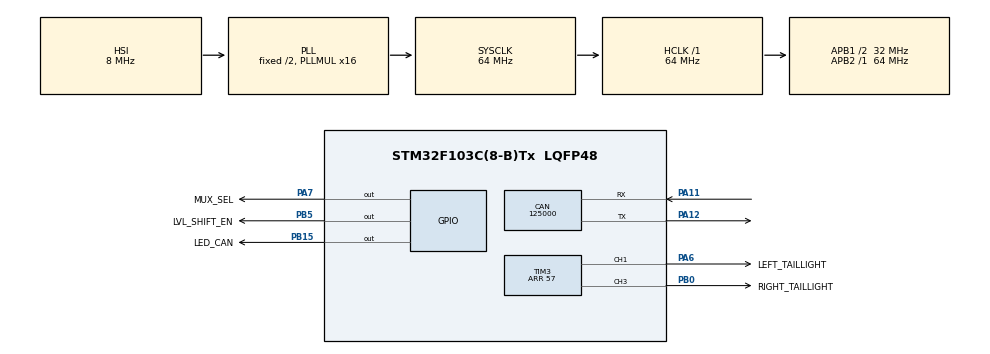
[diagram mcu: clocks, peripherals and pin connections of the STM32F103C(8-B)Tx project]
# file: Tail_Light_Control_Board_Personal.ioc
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CAN.BS1=CAN_BS1_13TQ
CAN.BS2=CAN_BS2_2TQ
CAN.CalculateBaudRate=125000
CAN.CalculateTimeBit=8000
CAN.CalculateTimeQuantum=500.0
Dma.Request0=TIM3_CH1/TRIG
Dma.Request1=TIM3_CH3
Dma.TIM3_CH1/TRIG.0.Direction=DMA_MEMORY_TO_PERIPH
Dma.TIM3_CH1/TRIG.0.Instance=DMA1_Channel6
Dma.TIM3_CH1/TRIG.0.MemDataAlignment=DMA_MDATAALIGN_WORD
Dma.TIM3_CH1/TRIG.0.MemInc=DMA_MINC_ENABLE
Dma.TIM3_CH1/TRIG.0.Mode=DMA_NORMAL
Dma.TIM3_CH1/TRIG.0.PeriphDataAlignment=DMA_PDATAALIGN_WORD
Dma.TIM3_CH1/TRIG.0.PeriphInc=DMA_PINC_DISABLE
Dma.TIM3_CH1/TRIG.0.Priority=DMA_PRIORITY_VERY_HIGH
Dma.TIM3_CH3.1.Direction=DMA_MEMORY_TO_PERIPH
Dma.TIM3_CH3.1.Instance=DMA1_Channel2
Dma.TIM3_CH3.1.MemDataAlignment=DMA_MDATAALIGN_WORD
Dma.TIM3_CH3.1.MemInc=DMA_MINC_ENABLE
Dma.TIM3_CH3.1.Mode=DMA_NORMAL
Dma.TIM3_CH3.1.PeriphDataAlignment=DMA_PDATAALIGN_WORD
Dma.TIM3_CH3.1.PeriphInc=DMA_PINC_DISABLE
Dma.TIM3_CH3.1.Priority=DMA_PRIORITY_VERY_HIGH
Mcu.Family=STM32F1
Mcu.Name=STM32F103C(8-B)Tx
Mcu.Package=LQFP48
NVIC.DMA1_Channel2_IRQn=true\:0\:0\:false\:false\:true\:false\:true\:true
NVIC.DMA1_Channel6_IRQn=true\:0\:0\:false\:false\:true\:false\:true\:true
NVIC.PriorityGroup=NVIC_PRIORITYGROUP_4
NVIC.USB_LP_CAN1_RX0_IRQn=true\:0\:0\:false\:false\:true\:true\:true\:true
PA11.Mode=CAN_Activate
PA11.Signal=CAN_RX
PA12.Mode=CAN_Activate
PA12.Signal=CAN_TX
PA13.Mode=Serial_Wire
PA13.Signal=SYS_JTMS-SWDIO
PA14.Mode=Serial_Wire
PA14.Signal=SYS_JTCK-SWCLK
PA6.GPIO_Label=LEFT_TAILLIGHT
PA6.Signal=S_TIM3_CH1
PA7.GPIO_Label=MUX_SEL
PA7.Signal=GPIO_Output
PB0.GPIO_Label=RIGHT_TAILLIGHT
PB0.Signal=S_TIM3_CH3
PB15.GPIO_Label=LED_CAN
PB15.Signal=GPIO_Output
PB5.GPIO_Label=LVL_SHIFT_EN
PB5.Signal=GPIO_Output
ProjectManager.HeapSize=0x200
ProjectManager.StackSize=0x400
ProjectManager.TargetToolchain=STM32CubeIDE
RCC.AHBFreq_Value=64000000
RCC.APB1CLKDivider=RCC_HCLK_DIV2
RCC.APB1Freq_Value=32000000
RCC.APB1TimFreq_Value=64000000
RCC.APB2Freq_Value=64000000
RCC.APB2TimFreq_Value=64000000
RCC.HCLKFreq_Value=64000000
RCC.PLLMUL=RCC_PLL_MUL16
RCC.SYSCLKFreq_VALUE=64000000
RCC.SYSCLKSource=RCC_SYSCLKSOURCE_PLLCLK
RCC.USBFreq_Value=64000000
SH.S_TIM3_CH1.0=TIM3_CH1,PWM Generation1 CH1
SH.S_TIM3_CH3.0=TIM3_CH3,PWM Generation3 CH3
TIM3.AutoReloadPreload=TIM_AUTORELOAD_PRELOAD_ENABLE
TIM3.Channel-PWM\ Generation1\ CH1=TIM_CHANNEL_1
TIM3.Channel-PWM\ Generation3\ CH3=TIM_CHANNEL_3
TIM3.Period=57
board=custom

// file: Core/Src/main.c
/* USER CODE BEGIN Header */
/**
  ******************************************************************************
  * @file           : main.c
  * @brief          : Main program body
  ******************************************************************************
  * @attention
  *
  * Copyright (c) 2025 STMicroelectronics.
  * All rights reserved.
  *
  * This software is licensed under terms that can be found in the LICENSE file
  * in the root directory of this software component.
  * If no LICENSE file comes with this software, it is provided AS-IS.
  *
  ******************************************************************************
  */
/* USER CODE END Header */
#include "main.h"

/* USER CODE BEGIN Includes */
#include <limits.h>
/* USER CODE END Includes */

/* USER CODE BEGIN PTD */
// WS2812B (LED) Expects GRB
typedef union{
	struct{
		uint8_t b;
		uint8_t r;
		uint8_t g;
	}color;
	uint32_t data; // BRG and "data" share the same memory space. This allows us to access the pixel data with ease
}PixelRGB_t;

/* USER CODE END PTD */

/* USER CODE BEGIN PD */
//#define TESTING

// Note that the layout is different between the left and the right tail lights
//#define LEFT_NUMPIXEL 107 // Number of Pixel for the in Total for Left Tail Light
#define LEFT_NUMPIXEL 52
#define LEFT_CUTOFF 22    // Number of Pixel for the Brake/Default Signal (0-76 Red)
// The Rest are Used for Turn/Hazard (Yelllow) 76-107 (exclude 107)

//#define RIGHT_NUMPIXEL 120 // Number of Pixel for the Upper Portion for the Right Tail Light (Turn/Hazard Signal)
#define RIGHT_NUMPIXEL 52
#define RIGHT_CUTOFF 22 // Number of Pixel for the Brake/Default Signal (40-120, 120 exclusvie RED)
// 0-40, 40 exclusive are the pixels for the Turn/Hazard (Yellow) Signals
#define RIGHT_DMABUF_LEN (RIGHT_NUMPIXEL * 24) + 100 // 100 Bits Corresponds to 100*0.96us of Lows
#define LEFT_DMABUF_LEN (LEFT_NUMPIXEL*24) + 100

#define DASHLIGHT_ID 5
#define BRAKEBOARD_ID 2

#define NEOPIXEL_ZERO 19 // CCR Needed to Create "LOW" Duty Cycle
//#define NEOPIXEL_ONE 38 // CCR Needed to Create "High" Duty Cycle
#define NEOPIXEL_ONE 38
const uint8_t BRAKE_LIGHT[] = {255,0,0}; // Bright Red
const uint8_t TAIL_LIGHT[] = {10,0,0}; // Dim Red
const uint8_t TURNSIG_COLOR[] = {255,20,0};
const uint8_t OFF_COLOR[] = {0,0,0};
/* USER CODE END PD */

CAN_HandleTypeDef hcan;

TIM_HandleTypeDef htim3;
DMA_HandleTypeDef hdma_tim3_ch1_trig;
DMA_HandleTypeDef hdma_tim3_ch3;

/* USER CODE BEGIN PV */
CAN_RxHeaderTypeDef RxHeader;
uint8_t RxData[8];

/* USER CODE END PV */

void SystemClock_Config(void);
static void MX_GPIO_Init(void);
static void MX_DMA_Init(void);
static void MX_CAN_Init(void);
static void MX_TIM3_Init(void);
/* USER CODE BEGIN PFP */
void updateLight();
void updateDash(uint8_t blinkData_local); // Ensures when we return to function, we finish updating using the old value
void updateBrake(uint8_t brakeData_local);
void SetPixelColor(PixelRGB_t* p,const uint8_t color[]);

/* USER CODE END PFP */

/* USER CODE BEGIN 0 */
uint8_t datasentFlag; // datasentFlag = 2 means both DMA are available, 0 means none are available
uint8_t updateDashFlag;
uint8_t updatePedalFlag;
PixelRGB_t Left_PixelData[LEFT_NUMPIXEL] = {0};
PixelRGB_t Right_PixelData[RIGHT_NUMPIXEL] = {0};
// DMA Transfers Requires Pointer. We will create that locally later
uint32_t left_dma_Buffer[LEFT_DMABUF_LEN] = {0}; // Match DMA Start, if we used uint8_t then we need
uint32_t right_dma_Buffer[RIGHT_DMABUF_LEN] = {0}; // uint32_t*, and modifying this might corrupt the DMA data
											// contiguous to that addres
uint8_t blinkData;
uint8_t brakeData;
uint32_t * pBuff_Left;
uint32_t * pBuff_Right;
uint8_t LEFT_BLINK;
uint8_t LEFT_BLINK_FLAG;
uint8_t RIGHT_BLINK;
uint8_t RIGHT_BLINK_FLAG;

int counter;
void SetPixelColor(PixelRGB_t* p, const uint8_t color[]){
	(*p).color.r = color [0];
	(*p).color.g = color [1];
	(*p).color.b = color [2];
}
void HAL_CAN_RxFifo0MsgPendingCallback(CAN_HandleTypeDef *hcan){
	// Extract the LED status update bits
	HAL_CAN_GetRxMessage(hcan, CAN_RX_FIFO0, &RxHeader, RxData);
	if(datasentFlag & 0b00000011){
		if(RxHeader.StdId == DASHLIGHT_ID){
			// Dashboard only controls the blinking of the lights
			// Hazard or Left or Right
			blinkData = RxData[0];
			updateDashFlag = 1;
		}
		else if(RxHeader.StdId == BRAKEBOARD_ID){
			// Brakeboard only controls the Red portion of the lights
			// Bright Red / Dim Red
			brakeData = RxData[0];
			updatePedalFlag = 1;
		}
	}
}

void HAL_TIM_PWM_PulseFinishedCallback(TIM_HandleTypeDef *htim){
	uint32_t left_remaining;
	uint32_t right_remaining;

  if( htim == &htim3){
	  // Note that TIM_Channel 3 corresponds to hdma[3], it's not zero-indexed (DMA)
	  // TIM channel are zero-indexed as stated in TIM_DMADelayPulseCplt 	   (TIM Status)
	  if(htim->hdma[1]->State ==  HAL_DMA_STATE_READY || htim->ChannelState[0] == HAL_TIM_CHANNEL_STATE_READY){
		  HAL_TIM_PWM_Stop_DMA(htim, TIM_CHANNEL_1);
		  datasentFlag |= 0b00000001;
	  }
	  if(htim->hdma[3]->State == HAL_DMA_STATE_READY || htim->ChannelState[2] == HAL_TIM_CHANNEL_STATE_READY){

		  HAL_TIM_PWM_Stop_DMA(htim, TIM_CHANNEL_3);
		  datasentFlag |= 0b00000010;

	  }
#ifdef TESTING
#endif
		  left_remaining = htim->hdma[1]->Instance->CNDTR;
		  right_remaining = htim->hdma[3]->Instance->CNDTR;
//
//	  if(datasentFlag == 0b0011){
//		  HAL_TIM_PWM_Stop_DMA(htim, TIM_CHANNEL_3);
//		  HAL_TIM_PWM_Stop_DMA(htim, TIM_CHANNEL_1);
//
//	  }

//	  if (htim == &htim3)
//	     {
//	         HAL_TIM_PWM_Stop_DMA(htim, TIM_CHANNEL_1);
//	         HAL_TIM_PWM_Stop_DMA(htim, TIM_CHANNEL_3);
//	         datasentFlag = 2;
//	     }
  }
}
void updateBrake(uint8_t brakeData_local){
	datasentFlag = 0;
	if(brakeData_local & 0b1)
	{
		for(int i = 0; i < LEFT_CUTOFF; i++){
			SetPixelColor(&Left_PixelData[i], BRAKE_LIGHT);
			SetPixelColor(&Right_PixelData[i], BRAKE_LIGHT);
		}
//		for(int j = 0 ; j < RIGHT_CUTOFF; j++){
//		}
	}
	else{ // if 0 then default dim red
		for(int k = 0; k < LEFT_CUTOFF; k++){
			SetPixelColor(&Left_PixelData[k], TAIL_LIGHT);
			SetPixelColor(&Right_PixelData[k], TAIL_LIGHT);
		 }
//		for(int l = 0; l < RIGHT_CUTOFF; l++){
//		 }

	}
	updateLight();
}
// Assumption Both Buffers are Filled
// Send there out via DMA

void LightsInit(){
	datasentFlag = 0;
	for(int k = 0; k < LEFT_CUTOFF; k++){
		SetPixelColor(&Left_PixelData[k], TAIL_LIGHT);
		SetPixelColor(&Right_PixelData[k], TAIL_LIGHT);
	 }
	for(int i = LEFT_CUTOFF; i <LEFT_NUMPIXEL; i++){
		SetPixelColor(&Left_PixelData[i], OFF_COLOR);
		SetPixelColor(&Right_PixelData[i], OFF_COLOR);
	}
	updateLight();
}

void updateLight(){
	datasentFlag = 0;
	pBuff_Left = left_dma_Buffer;
	pBuff_Right = right_dma_Buffer;
	for(int i = 0; i< LEFT_NUMPIXEL; i++){
		for(int j = 23; j >= 0; j--){
			if((Left_PixelData[i].data>>j) & 0x01){
				*pBuff_Left = NEOPIXEL_ONE;
			}
			else{
				*pBuff_Left = NEOPIXEL_ZERO;
			}
			pBuff_Left++;
		}

	}
	for(int k = 0; k< RIGHT_NUMPIXEL; k++){
		for(int l = 23; l >= 0; l--){
			if((Right_PixelData[k].data>>l) & 0x01){
				*pBuff_Right = NEOPIXEL_ONE;
			}
			else{
				*pBuff_Right = NEOPIXEL_ZERO;
			}
			pBuff_Right++;
		}
	}
	for(int z = 1; z <= 100; z++){
		left_dma_Buffer[LEFT_DMABUF_LEN - z] = 0;
		right_dma_Buffer[RIGHT_DMABUF_LEN - z ] = 0; // Extra time for latch (50us?)
	}
	uint32_t PRIMASK_STATE =  __get_PRIMASK();// Store the Current State of the Interrupts in (PRIMASK)
//	// Note: CPSID i sets PRIMASK to 1 (disable) and CPSIE i clears PRIMASK to 0 (enables)
	__disable_irq(); // This is an Critical Section because we want to Ensure both DMA Start without interrupts in between
	HAL_TIM_PWM_Start_DMA(&htim3, TIM_CHANNEL_3, (uint32_t*)right_dma_Buffer, RIGHT_DMABUF_LEN);
	HAL_TIM_PWM_Start_DMA(&htim3, TIM_CHANNEL_1, (uint32_t*)left_dma_Buffer, LEFT_DMABUF_LEN);
	__set_PRIMASK(PRIMASK_STATE);
	__enable_irq();
}
// blinkData is Headlight, Hazard, Left, Right
void updateDash(uint8_t blinkData_local){
	// TODO Logic to Mask the Blinkdata and Modify Left and Right Pixel Data as Necessary
	datasentFlag = 0; // Prevent BlinkData from being overwrite while executing
	blinkData_local &= 0b00000111; // Logic breaks if headlight is on and we proceed to press any of left/right/hazard (it hits else)
	if ((~blinkData_local & 0b0010) && (blinkData_local&0b0001)){ // If Left is off and Right Is on, ensure left blink is off
		for(int i = LEFT_CUTOFF; i < LEFT_NUMPIXEL; i++){
			SetPixelColor(&Left_PixelData[i], OFF_COLOR);
		}
		LEFT_BLINK = 0;
		LEFT_BLINK_FLAG = 0;
		RIGHT_BLINK = 1;
		RIGHT_BLINK_FLAG = 1;
		counter =  0;

	}
	else if((~blinkData_local & 0b0001) && (blinkData_local & 0b0010)){ // If Right is off and Left is On, ensure right blink is off
//		for(int i = 0; i < RIGHT_NUMPIXEL-RIGHT_CUTOFF; i++){
//		  SetPixelColor(&Right_PixelData[i], OFF_COLOR);
//	    }
		for(int i = RIGHT_CUTOFF; i < RIGHT_NUMPIXEL; i++){
			SetPixelColor(&Right_PixelData[i], OFF_COLOR);
		}
		RIGHT_BLINK = 0;
		RIGHT_BLINK_FLAG = 0;
		LEFT_BLINK = 1;
		LEFT_BLINK_FLAG = 1;
		counter = 0;
	}
	else if(blinkData_local & 0b0100){ // Hazard Case

		LEFT_BLINK = 1;
		LEFT_BLINK_FLAG = 1;
		RIGHT_BLINK = 1;
		RIGHT_BLINK_FLAG = 1;
		counter = 0;

	}
	else if(blinkData_local & 0b1000){ // don't care about headlights
		// Edge Case: Pressing Headlight before left/right/hazard zeros the datasentFlag, and if one of more of previous DMA transfer finished
		// It won't ever become 0b0011, which blocks CAN (bad).
		// Here we check that if the previous transfers are finished, we set both available, else let it be 0
		if(htim3.hdma[1]->State ==  HAL_DMA_STATE_READY && htim3.hdma[3]->State ==  HAL_DMA_STATE_READY){
			datasentFlag = 0b0011;
		}
		return;
	}
	else{ // Toggled all Off
//		 No Blinking
//		for(int i = 0; i < (RIGHT_NUMPIXEL - RIGHT_CUTOFF); i++){
//			SetPixelColor(&Right_PixelData[i], OFF_COLOR);
//		}
		for(int i = RIGHT_CUTOFF; i < RIGHT_NUMPIXEL; i++){
				SetPixelColor(&Right_PixelData[i], OFF_COLOR);
			}
		for(int j = LEFT_CUTOFF; j < LEFT_NUMPIXEL; j++){
			SetPixelColor(&Left_PixelData[j], OFF_COLOR);
		}
		LEFT_BLINK = 0;
		LEFT_BLINK_FLAG = 1; // Reset it to default
		RIGHT_BLINK = 0;
		RIGHT_BLINK_FLAG = 1; // Reset it to default
		counter =  INT_MAX - 800;

	}

	updateLight();
}

/* USER CODE END 0 */

int main(void)
{

  /* MCU Configuration--------------------------------------------------------*/

  /* Reset of all peripherals, Initializes the Flash interface and the Systick. */
  HAL_Init();

  /* Configure the system clock */
  SystemClock_Config();

  /* Initialize all configured peripherals */
  MX_GPIO_Init();
  MX_DMA_Init();
  MX_CAN_Init();
  MX_TIM3_Init();
  /* USER CODE BEGIN 2 */
  // Prepares the CAN hardware with the existing configuration and start allowing
  // CAN message Transmitting and Receiving
//  HAL_GPIO_WritePin(LVL_SHIFT_EN_GPIO_Port, LVL_SHIFT_EN_Pin, GPIO_PIN_RESET);

  HAL_GPIO_WritePin(LVL_SHIFT_EN_GPIO_Port, LVL_SHIFT_EN_Pin, GPIO_PIN_SET);
  HAL_GPIO_WritePin(MUX_SEL_GPIO_Port, MUX_SEL_Pin, GPIO_PIN_RESET); // 0 Select LED_A_5V to LED_A_OUTPUT rather than LED_B_5V
  datasentFlag = 0b00000011;
  updateDashFlag = 0;
  updatePedalFlag = 0 ;

  LEFT_BLINK = 0;
  LEFT_BLINK_FLAG = 1;
  RIGHT_BLINK = 0;
  RIGHT_BLINK_FLAG = 1;

  //HAL_Delay(100);
  brakeData = 0b0;
  blinkData = 0b0000;
//  HAL_Delay(500);
//  updateDash(); // OFF
//  HAL_Delay(500);
//  updateBrake(); // Dim RED
  LightsInit();

  HAL_CAN_Start(&hcan);
  // Triggers Interrupt whenever FIFO0 receive a new message
  HAL_CAN_ActivateNotification(&hcan, CAN_IT_RX_FIFO0_MSG_PENDING);
  /* USER CODE END 2 */

  /* Infinite loop */
  /* USER CODE BEGIN WHILE */
#ifdef TESTING
  blinkData = 0b0100; // hazard
//  blinkData = 0b0010; // left only
//  blinkData = 0b0001; // right only
//  	blinkData = 0b1000;
//  brakeData = 0b1;
//  brakeData = 0b0;
  updateDash(); // hazard
  updateBrake();

#endif
  while (1)
  {
    /* USER CODE END WHILE */

    /* USER CODE BEGIN 3 */
//	  updateBrake();

	  HAL_GPIO_WritePin(LVL_SHIFT_EN_GPIO_Port, LVL_SHIFT_EN_Pin, GPIO_PIN_SET);
	  HAL_GPIO_WritePin(MUX_SEL_GPIO_Port, MUX_SEL_Pin, GPIO_PIN_RESET); // 0 Select LED_A_5V to LED_A_OUTPUT rather than LED_B_5V
	  if(counter + 800 <= HAL_GetTick()){
		  if(LEFT_BLINK){
			  if(LEFT_BLINK_FLAG){
				  for(int i = LEFT_CUTOFF; i < LEFT_NUMPIXEL; i++){
					  SetPixelColor(&Left_PixelData[i], TURNSIG_COLOR);
				  }
				  LEFT_BLINK_FLAG = 0;
			  }
			  else if(LEFT_BLINK_FLAG == 0){
				  for(int i = LEFT_CUTOFF; i < LEFT_NUMPIXEL; i++){
					  SetPixelColor(&Left_PixelData[i], OFF_COLOR);
				  }
				  LEFT_BLINK_FLAG = 1;
			  }
		  }
		  if(RIGHT_BLINK){
			  if(RIGHT_BLINK_FLAG){
//				  for(int i = 0; i < RIGHT_NUMPIXEL-RIGHT_CUTOFF; i++){
//					  SetPixelColor(&Right_PixelData[i], TURNSIG_COLOR);
//				  }
				  for(int i = RIGHT_CUTOFF; i < RIGHT_NUMPIXEL; i++){
					  SetPixelColor(&Right_PixelData[i], TURNSIG_COLOR);
				  }
				  RIGHT_BLINK_FLAG = 0 ;
			  }
			  else if(RIGHT_BLINK_FLAG == 0){
//				  for(int i = 0; i < RIGHT_NUMPIXEL-RIGHT_CUTOFF; i++){
//					  SetPixelColor(&Right_PixelData[i], OFF_COLOR);
//				  }
				  for(int i = RIGHT_CUTOFF; i < RIGHT_NUMPIXEL; i++){
					  SetPixelColor(&Right_PixelData[i], OFF_COLOR);
				  }
				  RIGHT_BLINK_FLAG = 1;
			  }
		  }
		  counter = HAL_GetTick();
		  updateLight();
	  }
	  // Interrupt won't be faster than CPU execution since processing speed is way faster
	  if(updateDashFlag && datasentFlag == 0b0011){

		  updateDash(blinkData);

		  updateDashFlag = 0 ; // 0 means the latest dash data has been processed

	  }
	  if(updatePedalFlag && datasentFlag == 0b0011){
		  updateBrake(brakeData);
		  updatePedalFlag = 0; // 0 means the latest pedal data has been processed
	  }
#ifdef TESTING
//	  blinkData = 0b1000;
//	  updateDash();
#endif
  }
  /* USER CODE END 3 */
}

void SystemClock_Config(void)
{
  RCC_OscInitTypeDef RCC_OscInitStruct = {0};
  RCC_ClkInitTypeDef RCC_ClkInitStruct = {0};

  /** Initializes the RCC Oscillators according to the specified parameters
  * in the RCC_OscInitTypeDef structure.
  */
  RCC_OscInitStruct.OscillatorType = RCC_OSCILLATORTYPE_HSI;
  RCC_OscInitStruct.HSIState = RCC_HSI_ON;
  RCC_OscInitStruct.HSICalibrationValue = RCC_HSICALIBRATION_DEFAULT;
  RCC_OscInitStruct.PLL.PLLState = RCC_PLL_ON;
  RCC_OscInitStruct.PLL.PLLSource = RCC_PLLSOURCE_HSI_DIV2;
  RCC_OscInitStruct.PLL.PLLMUL = RCC_PLL_MUL16;
  if (HAL_RCC_OscConfig(&RCC_OscInitStruct) != HAL_OK)
  {
    Error_Handler();
  }

  /** Initializes the CPU, AHB and APB buses clocks
  */
  RCC_ClkInitStruct.ClockType = RCC_CLOCKTYPE_HCLK|RCC_CLOCKTYPE_SYSCLK
                              |RCC_CLOCKTYPE_PCLK1|RCC_CLOCKTYPE_PCLK2;
  RCC_ClkInitStruct.SYSCLKSource = RCC_SYSCLKSOURCE_PLLCLK;
  RCC_ClkInitStruct.AHBCLKDivider = RCC_SYSCLK_DIV1;
  RCC_ClkInitStruct.APB1CLKDivider = RCC_HCLK_DIV2;
  RCC_ClkInitStruct.APB2CLKDivider = RCC_HCLK_DIV1;

  if (HAL_RCC_ClockConfig(&RCC_ClkInitStruct, FLASH_LATENCY_2) != HAL_OK)
  {
    Error_Handler();
  }
}

static void MX_CAN_Init(void)
{

  hcan.Instance = CAN1;
  hcan.Init.Prescaler = 16;
  hcan.Init.Mode = CAN_MODE_NORMAL;
  hcan.Init.SyncJumpWidth = CAN_SJW_1TQ;
  hcan.Init.TimeSeg1 = CAN_BS1_13TQ;
  hcan.Init.TimeSeg2 = CAN_BS2_2TQ;
  hcan.Init.TimeTriggeredMode = DISABLE;
  hcan.Init.AutoBusOff = DISABLE;
  hcan.Init.AutoWakeUp = DISABLE;
  hcan.Init.AutoRetransmission = DISABLE;
  hcan.Init.ReceiveFifoLocked = DISABLE;
  hcan.Init.TransmitFifoPriority = DISABLE;
  if (HAL_CAN_Init(&hcan) != HAL_OK)
  {
    Error_Handler();
  }
  /* USER CODE BEGIN CAN_Init 2 */
  CAN_FilterTypeDef canfilterconfig;
  canfilterconfig.FilterActivation = CAN_FILTER_ENABLE;
  canfilterconfig.FilterBank = 0;
  canfilterconfig.FilterFIFOAssignment = CAN_RX_FIFO0;
  canfilterconfig.FilterIdHigh = DASHLIGHT_ID << 5; // CAN frame ID is 11 bit, but it's fetched as a 16 bit
  	  	  	  	  	  	  	  	  	  	  	  	  	// Actual CAN id is the fetched one right shifted by 5
  	  	  	  	  	  	  	  	  	  	  	  	  	// However, to accept it, we might create a filter that
  	  	  	  	  	  	  	  	  	  	  	  	  	// Matches the ID and shifts it left by 5 bits
  canfilterconfig.FilterIdLow = BRAKEBOARD_ID << 5;
  canfilterconfig.FilterMaskIdHigh = 0xFFFF;
  canfilterconfig.FilterMaskIdLow = 0xFFFF;
  canfilterconfig.FilterMode = CAN_FILTERMODE_IDLIST;
  canfilterconfig.FilterScale = CAN_FILTERSCALE_16BIT;
  canfilterconfig.SlaveStartFilterBank = 0;
  // Sets up the Filter Hardware
  HAL_CAN_ConfigFilter(&hcan, &canfilterconfig);
  /* USER CODE END CAN_Init 2 */

}

static void MX_TIM3_Init(void)
{

  TIM_MasterConfigTypeDef sMasterConfig = {0};
  TIM_OC_InitTypeDef sConfigOC = {0};

  htim3.Instance = TIM3;
  htim3.Init.Prescaler = 0;
  htim3.Init.CounterMode = TIM_COUNTERMODE_UP;
  htim3.Init.Period = 57;
  htim3.Init.ClockDivision = TIM_CLOCKDIVISION_DIV1;
  htim3.Init.AutoReloadPreload = TIM_AUTORELOAD_PRELOAD_ENABLE;
  if (HAL_TIM_PWM_Init(&htim3) != HAL_OK)
  {
    Error_Handler();
  }
  sMasterConfig.MasterOutputTrigger = TIM_TRGO_RESET;
  sMasterConfig.MasterSlaveMode = TIM_MASTERSLAVEMODE_DISABLE;
  if (HAL_TIMEx_MasterConfigSynchronization(&htim3, &sMasterConfig) != HAL_OK)
  {
    Error_Handler();
  }
  sConfigOC.OCMode = TIM_OCMODE_PWM1;
  sConfigOC.Pulse = 0;
  sConfigOC.OCPolarity = TIM_OCPOLARITY_HIGH;
  sConfigOC.OCFastMode = TIM_OCFAST_DISABLE;
  if (HAL_TIM_PWM_ConfigChannel(&htim3, &sConfigOC, TIM_CHANNEL_1) != HAL_OK)
  {
    Error_Handler();
  }
  if (HAL_TIM_PWM_ConfigChannel(&htim3, &sConfigOC, TIM_CHANNEL_3) != HAL_OK)
  {
    Error_Handler();
  }
  HAL_TIM_MspPostInit(&htim3);

}

static void MX_DMA_Init(void)
{

  /* DMA controller clock enable */
  __HAL_RCC_DMA1_CLK_ENABLE();

  /* DMA interrupt init */
  /* DMA1_Channel2_IRQn interrupt configuration */
  HAL_NVIC_SetPriority(DMA1_Channel2_IRQn, 0, 0);
  HAL_NVIC_EnableIRQ(DMA1_Channel2_IRQn);
  /* DMA1_Channel6_IRQn interrupt configuration */
  HAL_NVIC_SetPriority(DMA1_Channel6_IRQn, 0, 0);
  HAL_NVIC_EnableIRQ(DMA1_Channel6_IRQn);

}

static void MX_GPIO_Init(void)
{
  GPIO_InitTypeDef GPIO_InitStruct = {0};

  /* GPIO Ports Clock Enable */
  __HAL_RCC_GPIOA_CLK_ENABLE();
  __HAL_RCC_GPIOB_CLK_ENABLE();

  /*Configure GPIO pin Output Level */
  HAL_GPIO_WritePin(MUX_SEL_GPIO_Port, MUX_SEL_Pin, GPIO_PIN_RESET);

  /*Configure GPIO pin Output Level */
  HAL_GPIO_WritePin(GPIOB, LED_CAN_Pin|LVL_SHIFT_EN_Pin, GPIO_PIN_RESET);

  /*Configure GPIO pin : MUX_SEL_Pin */
  GPIO_InitStruct.Pin = MUX_SEL_Pin;
  GPIO_InitStruct.Mode = GPIO_MODE_OUTPUT_PP;
  GPIO_InitStruct.Pull = GPIO_NOPULL;
  GPIO_InitStruct.Speed = GPIO_SPEED_FREQ_LOW;
  HAL_GPIO_Init(MUX_SEL_GPIO_Port, &GPIO_InitStruct);

  /*Configure GPIO pins : LED_CAN_Pin LVL_SHIFT_EN_Pin */
  GPIO_InitStruct.Pin = LED_CAN_Pin|LVL_SHIFT_EN_Pin;
  GPIO_InitStruct.Mode = GPIO_MODE_OUTPUT_PP;
  GPIO_InitStruct.Pull = GPIO_NOPULL;
  GPIO_InitStruct.Speed = GPIO_SPEED_FREQ_LOW;
  HAL_GPIO_Init(GPIOB, &GPIO_InitStruct);

}

void Error_Handler(void)
{
  __disable_irq();
  while (1)
  {
  }
}
